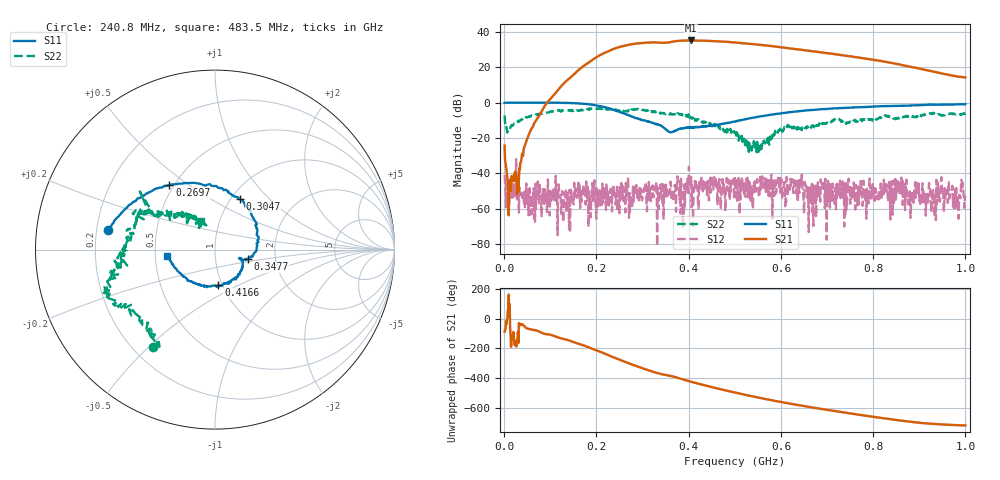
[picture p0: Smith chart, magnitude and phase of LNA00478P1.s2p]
! Created with skrf 1.9.0 (http://scikit-rf.org).
# Hz S RI R 50.0
!freq ReS11 ImS11 ReS21 ImS21 ReS12 ImS12 ReS22 ImS22
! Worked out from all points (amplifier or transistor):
!   1001 points, 1 MHz to 1 GHz, reference 50 ohm
!   highest |S21| = 35.2 dB at 404.6 MHz (marker M1)
!   |S21| within 3 dB of that: 260.5 MHz to 573.2 MHz (312.7 MHz wide, 75 % of centre)
!   unconditionally stable (mu >= 1): 236.8 MHz to 268.6 MHz; 268.8 MHz to 400.2 MHz; 401 MHz to end of sweep (the widest 3 of 47)
!   at 166.8 MHz: K = 0.80, MSG = 35.4 dB, |S12| = -51.3 dB
!   at 500.5 MHz: K = 1.33, MAG = 34.5 dB, |S12| = -41.9 dB
!   at 1 GHz: K = 6.22, MAG = 22.6 dB, |S12| = -52.7 dB
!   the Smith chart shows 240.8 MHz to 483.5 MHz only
!   S11 on the Smith chart (normalised r, x): 240.8 MHz: 0.25, +0.08; 269.7 MHz: 0.47, +0.42; 304.7 MHz: 1.10, +0.69; 347.7 MHz: 1.43, -0.16; 416.6 MHz: 0.96, -0.40; 483.5 MHz: 0.58, -0.04
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1000000  0.9872 0.00811  0.00191 -0.0609  -0.00872 -0.00209  0.297 0.3188
1.08892e8  0.5246 -0.8485  -0.7982 -1.517  -0.00117 -0.00345  0.4276 -0.378
1.67833e8  -0.2228 -0.9092  -9.798 -0.6646  -0.000939 0.00125  0.0391 -0.6247
2.09791e8  -0.6753 -0.4014  -15.83 16.16  0.00255 -1.94e-05  -0.2207 -0.6416
2.4076e8  -0.5957 0.1074  -2.925 34.08  -0.00111 -0.00209  -0.348 -0.5438
2.69731e8  -0.2539 0.3599  21.98 36.8  -0.00237 -0.000434  -0.4962 -0.3221
3.04696e8  0.1392 0.2815  46.26 16.8  -0.00327 0.00225  -0.5934 -0.1702
3.34666e8  0.2362 0.024  49.38 -7.968  0.000105 0.000949  -0.5338 -0.0389
3.47653e8  0.1816 -0.053  46.53 -15.79  -0.00132 0.0018  -0.4914 0.0453
3.73627e8  0.1522 -0.0668  44.1 -33.14  -0.00155 0.00299  -0.4249 0.1861
4.04596e8  0.0814 -0.1837  24.07 -51.95  0.0021 0.0046  -0.307 0.1922
4.16584e8  0.0192 -0.1979  14.77 -55.2  0.00321 0.0011  -0.2802 0.1912
4.46554e8  -0.1363 -0.177  -8.527 -54.92  0.00483 0.00565  -0.1877 0.1877
4.83517e8  -0.265 -0.0334  -31.4 -41.94  0.00208 0.00444  -0.0795 0.1613
5.005e8  -0.2841 0.0659  -37.91 -33.38  0.0055 -0.00586  -0.0912 0.1017
5.4046e8  -0.2499 0.2811  -43.51 -11.27  0.00456 -0.00121  -0.0641 0.0128
5.88412e8  -0.0705 0.4696  -37.1 10.31  0.000428 -0.00634  -0.1066 -0.0808
6.67333e8  0.3055 0.5406  -14.7 24.23  0.00257 -0.0044  -0.2123 -0.0704
7.53247e8  0.6171 0.3821  3.584 19.75  -0.00173 0.00104  -0.2927 -0.0139
8.34166e8  0.7821 0.1542  9.91 9.444  -0.00157 -0.00214  -0.4148 0.0175
9.09091e8  0.8517 -0.0957  8.349 2.285  0.000569 -0.00306  -0.3845 0.2255
1e9  0.8223 -0.3747  5.148 0.0225  0.00121 -0.00196  -0.285 0.4096
